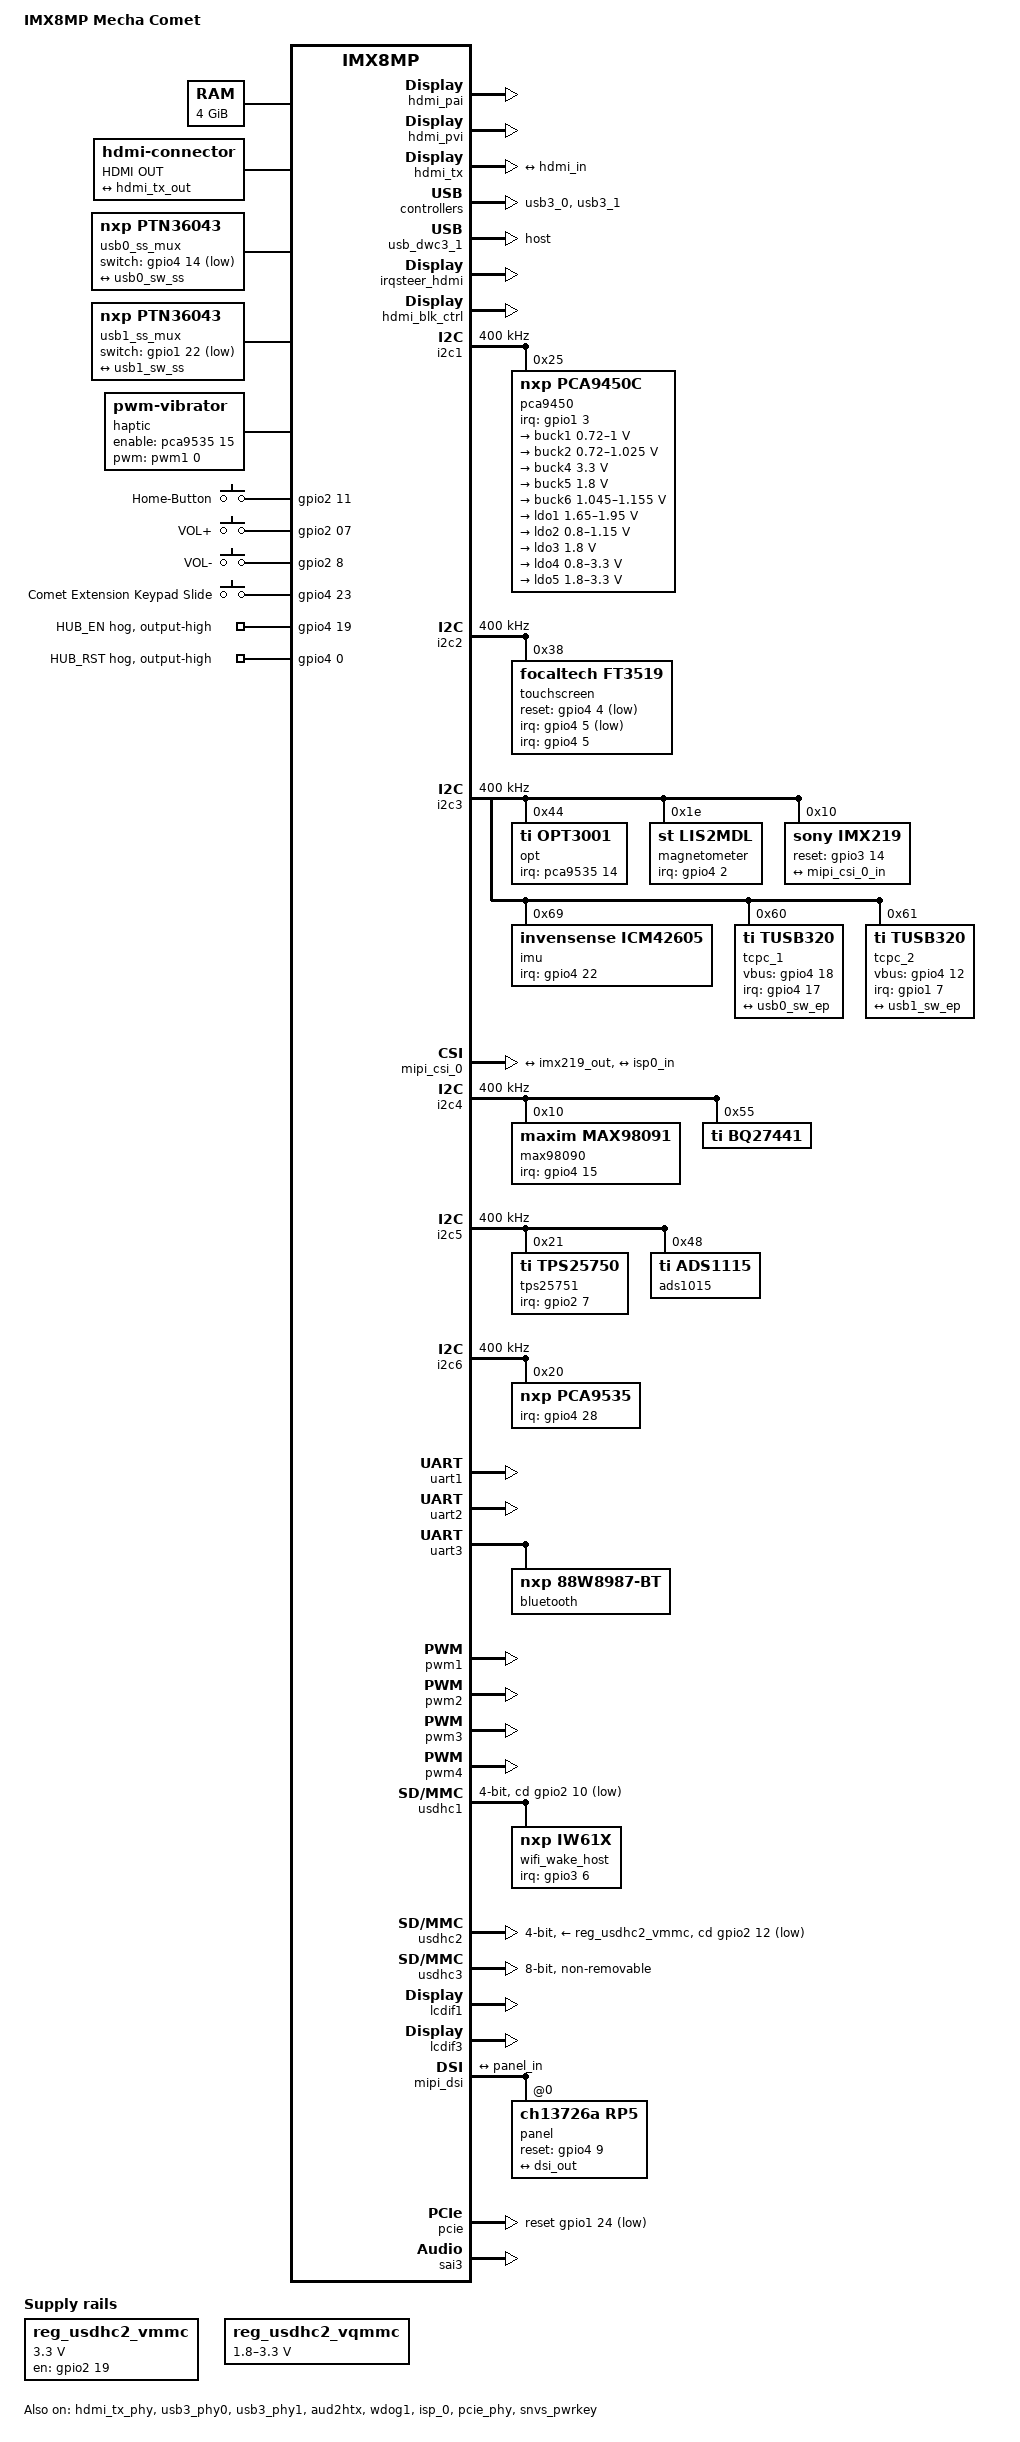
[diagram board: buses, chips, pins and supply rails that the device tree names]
// SPDX-License-Identifier: GPL-2.0-or-later OR MIT
/*
 * Copyright 2025 Silicon Signals Pvt Ltd
 */

/dts-v1/;

#include <dt-bindings/phy/phy-imx8-pcie.h>
#include <dt-bindings/pwm/pwm.h>
#include <dt-bindings/usb/pd.h>
#include "imx8mp.dtsi"

/ {
	model = "IMX8MP Mecha Comet";
	compatible = "mecha,imx8mp-mecha-comet","fsl,imx8mp";

	chosen {
		stdout-path = &uart2;
	};

	/* Reference from imx8mp-evk dts file needs to be tested */
	memory@40000000 {
		device_type = "memory";
		reg = <0x00000000 0x40000000   0x00000001 0x00000000>;
	};


	native-hdmi-connector {
		compatible = "hdmi-connector";
		label = "HDMI OUT";
		type = "c";

		port {
			hdmi_in: endpoint {
				remote-endpoint = <&hdmi_tx_out>;
			};
		};
	};

	reg_usdhc2_vmmc: regulator-usdhc2 {
		compatible = "regulator-fixed";
		pinctrl-names = "default";
		pinctrl-0 = <&pinctrl_reg_usdhc2_vmmc>;
		regulator-name = "VSD_3V3";
		regulator-min-microvolt = <3300000>;
		regulator-max-microvolt = <3300000>;
		gpio = <&gpio2 19 GPIO_ACTIVE_HIGH>;
		enable-active-high;
	};

	reg_usdhc2_vqmmc: regulator-usdhc2-vqmmc {
		compatible = "regulator-gpio";
		regulator-name = "VSD_VSEL";
		regulator-min-microvolt = <1800000>;
		regulator-max-microvolt = <3300000>;
		gpio = <&gpio1 4 GPIO_ACTIVE_HIGH>;
		gpios-states = <1>;
		states = <3300000 0
			 1800000 1>;
	};

	sound-max98090 {
	        compatible = "simple-audio-card";
	        simple-audio-card,name = "max98090-audio";
	        simple-audio-card,format = "i2s";
	        simple-audio-card,frame-master = <&cpudai>;
	        simple-audio-card,bitclock-master = <&cpudai>;
	        simple-audio-card,bitclock-inversion;

	        simple-audio-card,widgets =
	                "Microphone", "Mic Jack",
	                "Speakers", "Speakers",
	                "Line", "Line In",
	                "Line", "Line Out",
	                "Headphone", "Headphone Jack";

	        simple-audio-card,routing =
	                "Headphone Jack", "HPL",
	                "Headphone Jack", "HPR",
	                "Line Out", "RCVL",
	                "Line Out", "RCVR",
	        /* Uncomment any of these below lines if the Line Input(s) is(are) used else leave it as such. */
	                "IN1","Line In",
	                "IN2","Line In",
	                "IN5", "Line In",  /* IN1/IN2/IN3/IN4/IN6 (For single-ended input) */
	                "IN34", "Line In", /* IN34 (For differential inputs) */
	                "IN56", "Line In", /* IN34 (For differential inputs) */
	                "MIC1", "Mic Jack",
	                "MIC2", "Mic Jack",
	                "Mic Jack", "MICBIAS",
	                "IN1", "MICBIAS",
	                "MIC1","IN1",
	                "MIC2","IN1",
	                //"Speakers", "SPKL",
	                //"Speakers", "SPKR",

	                /* DMIC-3 Routings */
	                "DMICL", "DMIC Mux",
	                "DMIC Mux", "DMIC3",
	                "DMIC3", "DMIC3_ENA",
	                "DMIC3", "AHPF",

	                /* DMIC-4 Routings */
	                "DMICR", "DMIC Mux",
	                "DMIC Mux", "DMIC4",
	                "DMIC4", "DMIC4_ENA",
	                "DMIC3", "AHPF",
	                "DMIC4", "AHPF",

	                "HiFi Capture", "DMICL",
	                "HiFi Capture", "DMICR";

	        cpudai: simple-audio-card,cpu {
	                sound-dai = <&sai3>;
	                dai-tdm-slot-num = <2>;
	                dai-tdm-slot-width = <32>;
	        };

	        simple-audio-card,codec {
	                sound-dai = <&max98090>;
	                clocks = <&audio_blk_ctrl IMX8MP_CLK_AUDIOMIX_SAI3_MCLK1>;
	        };
	};

	sound-hdmi {
		compatible = "fsl,imx-audio-hdmi";
		model = "audio-hdmi";
		audio-cpu = <&aud2htx>;
		hdmi-out;
	};

	usb0_ss_mux: ptn36043 {
		compatible = "nxp,ptn36043";
		pinctrl-names = "default";
		switch-gpios = <&gpio4 14 GPIO_ACTIVE_LOW>;
		orientation-switch;

		port {
			usb0_sw_ep: endpoint {
				remote-endpoint = <&usb0_sw_ss>;
			};
		};
	};

	usb1_ss_mux: ptn36043_1 {
		compatible = "nxp,ptn36043";
		pinctrl-names = "default";
		switch-gpios = <&gpio1 22 GPIO_ACTIVE_LOW>;
		orientation-switch;

		port {
			usb1_sw_ep: endpoint {
				remote-endpoint = <&usb1_sw_ss>;
			};
		};
	};

	haptic {
		compatible = "pwm-vibrator";
		pwms = <&pwm1 0 1000000 0>;
		pwm-names = "enable";
		enable-gpios = <&pca9535 15 GPIO_ACTIVE_HIGH>;
		status = "okay";
    };

	Home-button {
		compatible = "gpio-keys";

		keypad-slide {
			label = "Home-Button";
			linux,input-type = <EV_KEY>;
			linux,code = <KEY_HOME>;
			gpios = <&gpio2 11 GPIO_ACTIVE_HIGH>;
		};
	};

	VOL-PLUS {
		compatible = "gpio-keys";

		keypad-slide {
			label = "VOL+";
			linux,input-type = <EV_KEY>;
			linux,code = <KEY_VOLUMEUP>;
			gpios = <&gpio2 07 GPIO_ACTIVE_HIGH>;
		};
	};

	VOL-MINUS {
		compatible = "gpio-keys";

		keypad-slide {
			label = "VOL-";
			linux,input-type = <EV_KEY>;
			linux,code = <KEY_VOLUMEDOWN>;
			gpios = <&gpio2 8 GPIO_ACTIVE_HIGH>;
		};
	};

	Comet-Extension {
		compatible = "gpio-keys";

		keypad-slide {
			label = "Comet Extension Keypad Slide";
			linux,input-type = <EV_KEY>;
			linux,code = <KEY_F24>;
			gpios = <&gpio4 23 GPIO_ACTIVE_HIGH>;
		};
	};

};

&A53_0 {
        cpu-supply = <&buck2>;
};

&A53_1 {
        cpu-supply = <&buck2>;
};

&A53_2 {
        cpu-supply = <&buck2>;
};

&A53_3 {
        cpu-supply = <&buck2>;
};


&hdmi_pai {
	status = "okay";
};

&hdmi_pvi {
	status = "okay";
};

&hdmi_tx {
	pinctrl-names = "default";
	pinctrl-0 = <&pinctrl_hdmi>;
	status = "okay";

	ports {
		port@1 {
			hdmi_tx_out: endpoint {
				remote-endpoint = <&hdmi_in>;
			};
		};
	};
};

&hdmi_tx_phy {
	status = "okay";
};

&usb3_0 {
	status = "okay";
};

&usb3_phy0 {
	status = "okay";
};

&usb3_phy1 {
	status = "okay";
};

&usb3_1 {
	status = "okay";
};

&usb_dwc3_1 {
	status = "okay";
	dr_mode = "host";
};

&irqsteer_hdmi {
        status = "okay";
};

&hdmi_blk_ctrl {
        status = "okay";
};

&aud2htx {
	status = "okay";
};

&wdog1 {
        pinctrl-names = "default";
	pinctrl-0 = <&pinctrl_wdog>;
	fsl,ext-reset-output;
	status = "okay";
};

&i2c1 {
	clock-frequency = <400000>;
	pinctrl-names = "default";
	pinctrl-0 = <&pinctrl_i2c1>;
	status = "okay";

	pca9450: pmic@25 {
		compatible = "nxp,pca9450c";
		reg = <0x25>;
		pinctrl-names = "default";
		pinctrl-0 = <&pinctrl_pmic>;
		interrupt-parent = <&gpio1>;
		interrupts = <3 IRQ_TYPE_LEVEL_LOW>;

		regulators {
			buck1: BUCK1 {
				regulator-name = "VDD_SOC";
				regulator-min-microvolt = <720000>;
				regulator-max-microvolt = <1000000>;
				regulator-boot-on;
				regulator-always-on;
				regulator-ramp-delay = <3125>;
			};

			buck2: BUCK2 {
				regulator-name = "VDD_ARM";
				regulator-min-microvolt = <720000>;
				regulator-max-microvolt = <1025000>;
				regulator-boot-on;
				regulator-always-on;
				regulator-ramp-delay = <3125>;
				nxp,dvs-run-voltage = <950000>;
				nxp,dvs-standby-voltage = <850000>;
			};

			buck4: BUCK4 {
				regulator-name = "BUCK4";
				regulator-min-microvolt = <3300000>;
				regulator-max-microvolt = <3300000>;
				regulator-boot-on;
				regulator-always-on;
			};

			buck5: BUCK5 {
				regulator-name = "BUCK5";
				regulator-min-microvolt = <1800000>;
				regulator-max-microvolt = <1800000>;
				regulator-boot-on;
				regulator-always-on;
			};

			buck6: BUCK6 {
				regulator-name = "NVCC_DRAM_1V1";
				regulator-min-microvolt = <1045000>;
				regulator-max-microvolt = <1155000>;
				regulator-boot-on;
				regulator-always-on;
			};

			ldo1: LDO1 {
				regulator-name = "NVCC_SNVS_1V8";
				regulator-min-microvolt = <1650000>;
				regulator-max-microvolt = <1950000>;
				regulator-boot-on;
				regulator-always-on;
			};

			ldo2: LDO2 {
				regulator-name = "LDO2";
				regulator-min-microvolt = <800000>;
				regulator-max-microvolt = <1150000>;
				regulator-boot-on;
				regulator-always-on;
			};

			ldo3: LDO3 {
				regulator-name = "VDDA_1V8";
				regulator-min-microvolt = <1800000>;
				regulator-max-microvolt = <1800000>;
				regulator-boot-on;
				regulator-always-on;
			};

			ldo4: LDO4 {
				regulator-name = "LDO4";
				regulator-min-microvolt = <800000>;
				regulator-max-microvolt = <3300000>;
				regulator-boot-on;
				regulator-always-on;
			};

			ldo5: LDO5 {
				regulator-name = "NVCC_SD2";
				regulator-min-microvolt = <1800000>;
				regulator-max-microvolt = <3300000>;
				regulator-boot-on;
				regulator-always-on;
			};
		};
	};
};

&i2c2 {
	clock-frequency = <400000>;
	pinctrl-names = "default";
	pinctrl-0 = <&pinctrl_i2c2>;
	status = "okay";

	touchscreen@38 {
		compatible = "focaltech,ft3519", "focaltech,ft3518";
		reg = <0x38>;

		interrupt-parent = <&gpio4>;
		interrupts = <5 IRQ_TYPE_EDGE_FALLING>;
		reset-gpio = <&gpio4 4 GPIO_ACTIVE_LOW>;
		irq-gpio = <&gpio4 5 GPIO_ACTIVE_LOW>;

		pinctrl-names = "default";
		pinctrl-0 = <&pinctrl_touch_i2c>;

		touchscreen-size-x = <1080>;
		touchscreen-size-y = <1240>;
	};
};

&i2c3 {
	clock-frequency = <400000>;
	pinctrl-names = "default";
	pinctrl-0 = <&pinctrl_i2c3>;
	status = "okay";

	opt: opt3001@44 {
        compatible = "ti,opt3001";
        reg = <0x44>;
        interrupt-parent = <&gpio4>;
        interrupts = <11 IRQ_TYPE_EDGE_RISING>;
        status = "okay";
    };

	magnetometer@1e {
		compatible = "st,lis2mdl";
		reg = <0x1e>;
		interrupt-parent = <&gpio4>;
		interrupts = <2 IRQ_TYPE_EDGE_RISING>;
	};

	imx219: imx219@10 {
		compatible = "sony,imx219";
		reg = <0x10>;
		pinctrl-names = "default";
		pinctrl-0 = <&pinctrl_gpio_mclk>, <&pinctrl_gpio5>;
		clock-names = "xclk";
		clocks = <&clk IMX8MP_CLK_IPP_DO_CLKO1>;
		assigned-clocks = <&clk IMX8MP_CLK_IPP_DO_CLKO1>;
		assigned-clock-parents = <&clk IMX8MP_CLK_24M>;
		assigned-clock-rates = <24000000>;
		reset-gpios = <&gpio3 14 GPIO_ACTIVE_HIGH>;

		rotation = <0>;
		orientation = <2>;

		ports {
			#address-cells = <1>;
			#size-cells = <0>;
			port@0 {
				reg = <0>;
				imx219_out: endpoint {
					remote-endpoint = <&mipi_csi_0_in>;
					clock-noncontinuous;
					data-lanes = <1 2>;
					link-frequencies = /bits/ 64 <456000000>;
				};
			};
		};
	};

	imu: icm42605@69 {
		compatible = "invensense,icm42605";
		pinctrl-names = "default";
		pinctrl-0 = <&pinctrl_imu_gpio>;
		reg = <0x69>;
		interrupt-parent = <&gpio4>;
		interrupts = <22 IRQ_TYPE_EDGE_FALLING>;
	};

	opt: opt3001@44 {
		compatible = "ti,opt3001";
		reg = <0x44>;
		interrupt-parent = <&pca9535>;
		interrupts = <14 IRQ_TYPE_EDGE_FALLING>;
		status = "okay";
	};

	tcpc_1: tusb320@60 {
		compatible = "ti,tusb320";
		reg = <0x60>;
		pinctrl-0 = <&pinctrl_tusb>;
		interrupt-parent = <&gpio4>;
		interrupts = <17 IRQ_TYPE_LEVEL_LOW>;
		vbus-gpios = <&gpio4 18 GPIO_ACTIVE_HIGH>;
		status = "okay";

		connector {
			compatible = "usb-c-connector";
			label = "USB-C-Port1";
			data-role = "dual";
			power-role = "dual";
			typec-power-opmode = "default";

			ports {
				#address-cells = <1>;
				#size-cells = <0>;
                port@1 {
					reg = <1>;
					usb0_sw_ss: endpoint {
						remote-endpoint = <&usb0_sw_ep>;
					};
				};
			};
		};
	};

	tcpc_2: tusb320@61 {
		compatible = "ti,tusb320";
		reg = <0x61>;
		pinctrl-0 = <&pinctrl_tusb_1>;
		interrupt-parent = <&gpio1>;
		interrupts = <7 IRQ_TYPE_LEVEL_LOW>;
		vbus-gpios = <&gpio4 12 GPIO_ACTIVE_HIGH>;
		status = "okay";

		connector {
			compatible = "usb-c-connector";
			label = "USB-C-Port2";
			data-role = "dual";
			power-role = "dual";
			typec-power-opmode = "default";

			ports {
				#address-cells = <1>;
				#size-cells = <0>;

				port@1 {
					reg = <1>;
					usb1_sw_ss: endpoint {
						remote-endpoint = <&usb1_sw_ep>;
					};
				};
			};
		};
	};

};

&mipi_csi_0 {
    status = "okay";
	fsl,blk-ctrl = <&media_blk_ctrl>;

    ports {
        #address-cells = <1>;
        #size-cells = <0>;

        /* input from sensor */
        port@0 {
            mipi_csi_0_in: endpoint {
                remote-endpoint = <&imx219_out>;
                data-lanes = <1 2>;
                clock-lanes = <0>;
            };
        };

        /* output to ISP */
        port@1 {
            mipi_csi_0_out: endpoint {
                remote-endpoint = <&isp0_in>;
            };
        };
    };
};

&isp_0 {
	status = "okay";

	ports {
		port@1 {
			isp0_in: endpoint {
				bus-type = <5>;
				remote-endpoint = <&mipi_csi_0_out>;
			};
		};
	};
};

&isi_0 {
	status = "disabled";

	ports {
		port@0 {
			/delete-node/ endpoint;
		};
	};
};

&i2c4 {
	clock-frequency = <400000>;
	pinctrl-names = "default";
	pinctrl-0 = <&pinctrl_i2c4>;
	status = "okay";

	max98090: max98090@10 {
	        #sound-dai-cells = <0>;
	        pinctrl-names = "default";
	        pinctrl-0 = <&pinctrl_sai3>;
			pinctrl-1 = <&pinctrl_codec>;
	        compatible = "maxim,max98091";
	        reg = <0x10>;
	        clocks = <&audio_blk_ctrl IMX8MP_CLK_AUDIOMIX_SAI3_MCLK1>;
	        interrupt-parent = <&gpio4>;
	        interrupts = <15 IRQ_TYPE_LEVEL_LOW>;
	        clock-names = "mclk";
			status = "okay";
	};

	bq27441: fuel-gauge@55 {
		compatible = "ti,bq27441";
		reg = <0x55>;
		status = "okay";
		monitored-battery = <&bat>;
		bat: battery {
			compatible = "simple-battery";
			over-voltage-threshold-microvolt = <4500000>;
			re-charge-voltage-microvolt = <250000>;
			voltage-min-design-microvolt = <3200000>;
			voltage-max-design-microvolt = <4200000>;
			energy-full-design-microwatt-hours = <5290000>;
			charge-full-design-microamp-hours = <1430000>;
			precharge-current-microamp = <256000>;
			precharge-upper-limit-microvolt = <2500000>;
			charge-term-current-microamp = <128000>;
			constant-charge-current-max-microamp = <900000>;
			constant-charge-voltage-max-microvolt = <4200000>;
			factory-internal-resistance-micro-ohms = <250000>;
			ocv-capacity-celsius = <(-10) 0 10>;
			/* table for -10 degree Celsius */
			ocv-capacity-table-0 = <4185000 100>, <4113000 95>, <4066000 90>;
			/* table for 0 degree Celsius */
			ocv-capacity-table-1 = <4200000 100>, <4185000 95>, <4113000 90>;
			/* table for 10 degree Celsius */
			ocv-capacity-table-2 = <4250000 100>, <4200000 95>, <4185000 90>;
			resistance-temp-table = <20 100>, <10 90>, <0 80>, <(-10) 60>;
			operating-range-celsius = <(-30) 50>;
			ambient-celsius = <(-5) 50>;
			alert-celsius = <0 40>;
		};
	};

};

&i2c5 {
	clock-frequency = <400000>;
	pinctrl-names = "default";
	pinctrl-0 = <&pinctrl_i2c5>;
	status = "okay";

	/* PD controller for USB_PWR */
	tps25751: typec@21 {
		compatible = "ti,tps25750";
		reg = <0x21>, <0x0f>;
		reg-names = "main", "patch-address";
		pinctrl-names = "default";
		pinctrl-0 = <&pinctrl_typec>;
		interrupt-parent = <&gpio2>;
		interrupts = <7 IRQ_TYPE_LEVEL_LOW>;
		interrupt-names = "irq";
		firmware-name = "tps25751.bin";

		connector {
			compatible = "usb-c-connector";
			label = "USB-C";
			self-powered;
			data-role = "dual";
			power-role = "dual";
		};
	};

	ads1015@48 {
		compatible = "ti,ads1115";
		reg = <0x48>;
		#address-cells = <1>;
		#size-cells = <0>;
	};

};

&i2c6 {
	clock-frequency = <400000>;
    pinctrl-names = "default";
    pinctrl-0 = <&pinctrl_i2c6>;
    status = "okay";

    pca9535:gpio@20 {
		compatible = "nxp,pca9535";
		reg = <0x20>;
		gpio-controller;
		#gpio-cells = <2>;
		interrupt-parent = <&gpio4>;
		interrupts = <28 IRQ_TYPE_LEVEL_LOW>;
		interrupt-controller;
		#interrupt-cells = <2>;
		status = "okay";

		nSleep {
			gpio-hog;
			gpios = <10 GPIO_ACTIVE_HIGH>;
			output-high;
			line-name = "haptic motor nSleep";
		};
    };
};

&gpio4 {
	hub_en {
		gpio-hog;
		gpios = <19 GPIO_ACTIVE_HIGH>;
		output-high;
		line-name = "HUB_EN";
	};

	hub_rst {
		gpio-hog;
		gpios = <0 GPIO_ACTIVE_HIGH>;
		output-high;
		line-name = "HUB_RST";
	};
};

&uart1 {
	pinctrl-names = "default";
	pinctrl-0 = <&pinctrl_uart1>;
	status = "okay";
};

&uart2 {
	/* console */
	pinctrl-names = "default";
	pinctrl-0 = <&pinctrl_uart2>;
	status = "okay";
};

&uart3 {
	pinctrl-names = "default";
	pinctrl-0 = <&pinctrl_uart3>;
	assigned-clocks = <&clk IMX8MP_CLK_UART3>;
	assigned-clock-parents = <&clk IMX8MP_SYS_PLL1_80M>;
	uart-has-rtscts;
	status = "okay";
	bluetooth {
		compatible = "nxp,88w8987-bt";
		fw-init-baudrate = <3000000>;
		status="okay";
	};
};

&pwm1 {
	pinctrl-names = "default";
	pinctrl-0 = <&pinctrl_pwm1>;
	status = "okay";
};

&pwm2 {
	pinctrl-names = "default";
	pinctrl-0 = <&pinctrl_pwm2>;
	status = "okay";
};

&pwm3 {
	pinctrl-names = "default";
	pinctrl-0 = <&pinctrl_pwm3>;
	status = "okay";
};

&pwm4 {
	pinctrl-names = "default";
	pinctrl-0 = <&pinctrl_pwm4>;
	status = "okay";
};

&usdhc1 {
	assigned-clocks = <&clk IMX8MP_CLK_USDHC1>;
	assigned-clock-rates = <400000000>;
	bus-width = <4>;
	keep-power-in-suspend;
//	non-removable;
	wakeup-source;
	pinctrl-names = "default", "state_100mhz", "state_200mhz";
	pinctrl-0 = <&pinctrl_usdhc1>, <&pinctrl_wifi_ctrl>;
	pinctrl-1 = <&pinctrl_usdhc1_100mhz>, <&pinctrl_wifi_ctrl>;
	pinctrl-2 = <&pinctrl_usdhc1_200mhz>, <&pinctrl_wifi_ctrl>;
	status = "okay";
	cd-gpios = <&gpio2 10 GPIO_ACTIVE_LOW>;
	
	wifi_wake_host {
		compatible = "nxp,iw61x";
		interrupt-parent = <&gpio3>;
		interrupts = <6 IRQ_TYPE_LEVEL_HIGH>;
		interrupt-names = "host-wake";
	};
};

&usdhc2 {
	assigned-clocks = <&clk IMX8MP_CLK_USDHC2>;
	assigned-clock-rates = <400000000>;
	pinctrl-names = "default", "state_100mhz", "state_200mhz", "sleep";
	pinctrl-0 = <&pinctrl_usdhc2>, <&pinctrl_usdhc2_cd>;
	pinctrl-1 = <&pinctrl_usdhc2_100mhz>, <&pinctrl_usdhc2_cd>;
	pinctrl-2 = <&pinctrl_usdhc2_200mhz>, <&pinctrl_usdhc2_cd>;
	pinctrl-3 = <&pinctrl_usdhc2_sleep>, <&pinctrl_usdhc2_cd_sleep>;
	cd-gpios = <&gpio2 12 GPIO_ACTIVE_LOW>;
	vmmc-supply = <&reg_usdhc2_vmmc>;
	vqmmc-supply = <&reg_usdhc2_vqmmc>;
	disable-wp;
	bus-width = <4>;
	status = "okay";
};

&usdhc3 {
	assigned-clocks = <&clk IMX8MP_CLK_USDHC3>;
	assigned-clock-rates = <400000000>;
	pinctrl-names = "default", "state_100mhz", "state_200mhz";
	pinctrl-0 = <&pinctrl_usdhc3>;
	pinctrl-1 = <&pinctrl_usdhc3_100mhz>;
	pinctrl-2 = <&pinctrl_usdhc3_200mhz>;
	bus-width = <8>;
	non-removable;
	status = "okay";
};

&lcdif1 {
	status = "okay";
};

&lcdif2 {
        status = "disabled";
};

&lcdif3 {
        status = "okay";

        thres-low  = <1 2>;             /* (FIFO * 1 / 2) */
        thres-high = <3 4>;             /* (FIFO * 3 / 4) */
};

&mipi_dsi {
	samsung,esc-clock-frequency = <16000000>;
	status = "okay";

	port {
		dsi_out: endpoint {
			remote-endpoint = <&panel_in>;
		};
	};

	panel@0 {
		compatible = "ch13726a,rp5";
		reg = <0>;
		pinctrl-0 = <&pinctrl_mipi_gpio>;
		reset-gpios = <&gpio4 9 GPIO_ACTIVE_HIGH>;
		//orientation = <0>;
		//rotation = <270>;
		//dsi-lanes = <4>;
		//video-mode = <0>;
		status = "okay";

		port {
			panel_in: endpoint {
				remote-endpoint = <&dsi_out>;
			};
		};
	};
};

&pcie_phy {
	fsl,refclk-pad-mode = <IMX8_PCIE_REFCLK_PAD_OUTPUT>;
	clocks = <&hsio_blk_ctrl>;
	clock-names = "ref";
	status = "okay";
};

&pcie {
	pinctrl-names = "default";
	pinctrl-0 = <&pinctrl_pcie0>;
	reset-gpio = <&gpio1 24 GPIO_ACTIVE_LOW>;
	status = "okay";
};

&sai3 {
	#sound-dai-cells = <0>;
	assigned-clocks = <&clk IMX8MP_CLK_SAI3>;
	assigned-clock-parents = <&clk IMX8MP_AUDIO_PLL1_OUT>;
	assigned-clock-rates = <12288000>;
	fsl,sai-mclk-direction-output;
	status = "okay";
};

&sdma2 {
       status = "okay";
};

&snvs_pwrkey {
        status = "okay";
};

&iomuxc {
	pinctrl_gpio_mclk: gpiomclkgrp {
		fsl,pins =
				/* CSI_1_MCLK */
				<MX8MP_IOMUXC_GPIO1_IO14__CCM_CLKO1             0x1c4>;
	};

	pinctrl_gpio5: gpio5grp {
		fsl,pins =
				<MX8MP_IOMUXC_NAND_ALE__GPIO3_IO00            0x184>;
	};

	pinctrl_i2c1: i2c1grp {
		fsl,pins = <
			MX8MP_IOMUXC_I2C1_SCL__I2C1_SCL		0x400001c2
			MX8MP_IOMUXC_I2C1_SDA__I2C1_SDA		0x400001c2
		>;
	};

	pinctrl_i2c2: i2c2grp {
		fsl,pins = <
			MX8MP_IOMUXC_I2C2_SCL__I2C2_SCL		0x400001c2
			MX8MP_IOMUXC_I2C2_SDA__I2C2_SDA		0x400001c2
		>;
	};

	pinctrl_i2c3: i2c3grp {
		fsl,pins = <
			MX8MP_IOMUXC_I2C3_SCL__I2C3_SCL		0x400001c2
			MX8MP_IOMUXC_I2C3_SDA__I2C3_SDA		0x400001c2
		>;
	};

	pinctrl_i2c4: i2c4grp {
		fsl,pins = <
			MX8MP_IOMUXC_I2C4_SCL__I2C4_SCL		0x400001c2
			MX8MP_IOMUXC_I2C4_SDA__I2C4_SDA		0x400001c2
		>;
	};

	pinctrl_i2c5: i2c5grp {
		fsl,pins = <
			MX8MP_IOMUXC_SAI5_RXD0__I2C5_SCL	0x400001c2
			MX8MP_IOMUXC_SAI5_MCLK__I2C5_SDA	0x400001c2
		>;
	};

	pinctrl_i2c6: i2c6grp {
		fsl,pins = <
			MX8MP_IOMUXC_SAI5_RXC__I2C6_SDA		0x400001c2
			MX8MP_IOMUXC_SAI5_RXFS__I2C6_SCL	0x400001c2
		>;
	};

	pinctrl_uart1: uart1grp {
		fsl,pins = <
			MX8MP_IOMUXC_UART1_RXD__UART1_DCE_RX		0x140
			MX8MP_IOMUXC_UART1_TXD__UART1_DCE_TX		0x140
		>;
	};

	pinctrl_uart2: uart2grp {
		fsl,pins = <
			MX8MP_IOMUXC_UART2_RXD__UART2_DCE_RX		0x140
			MX8MP_IOMUXC_UART2_TXD__UART2_DCE_TX		0x140
		>;
	};

	pinctrl_uart3: uart3grp {
		fsl,pins = <
			MX8MP_IOMUXC_ECSPI1_SCLK__UART3_DCE_RX		0x140
			MX8MP_IOMUXC_ECSPI1_MOSI__UART3_DCE_TX		0x140
			MX8MP_IOMUXC_ECSPI1_SS0__UART3_DCE_RTS		0x140
			MX8MP_IOMUXC_ECSPI1_MISO__UART3_DCE_CTS		0x140
		>;
	};

	pinctrl_pwm1: pwm1grp {
		fsl,pins = <
			MX8MP_IOMUXC_GPIO1_IO08__PWM1_OUT		0x116
		>;
	};

	pinctrl_pwm2: pwm2grp {
		fsl,pins = <
			MX8MP_IOMUXC_GPIO1_IO09__PWM2_OUT		0x116
		>;
	};

	pinctrl_pwm3: pwm3grp {
		fsl,pins = <
			MX8MP_IOMUXC_GPIO1_IO10__PWM3_OUT		0x116
		>;
	};

	pinctrl_pwm4: pwm4grp {
		fsl,pins = <
			MX8MP_IOMUXC_GPIO1_IO15__PWM4_OUT		0x116
		>;
	};

	pinctrl_pmic: pmicgrp {
		fsl,pins = <
			MX8MP_IOMUXC_GPIO1_IO03__GPIO1_IO03		0x000001c0
		>;
	};

	pinctrl_typec: typec1grp {
		fsl,pins = <
			MX8MP_IOMUXC_SD1_DATA5__GPIO2_IO07		0x1c4
		>;
	};

	pinctrl_usdhc1: usdhc1grp {
		fsl,pins = <
			MX8MP_IOMUXC_SD1_CLK__USDHC1_CLK		0x190
			MX8MP_IOMUXC_SD1_CMD__USDHC1_CMD		0x1d0
			MX8MP_IOMUXC_SD1_DATA0__USDHC1_DATA0		0x1d0
			MX8MP_IOMUXC_SD1_DATA1__USDHC1_DATA1		0x1d0
			MX8MP_IOMUXC_SD1_DATA2__USDHC1_DATA2		0x1d0
			MX8MP_IOMUXC_SD1_DATA3__USDHC1_DATA3		0x1d0
		>;
	};

	pinctrl_usdhc1_100mhz: usdhc1-100mhzgrp {
		fsl,pins = <
			MX8MP_IOMUXC_SD1_CLK__USDHC1_CLK		0x194
			MX8MP_IOMUXC_SD1_CMD__USDHC1_CMD		0x1d4
			MX8MP_IOMUXC_SD1_DATA0__USDHC1_DATA0		0x1d4
			MX8MP_IOMUXC_SD1_DATA1__USDHC1_DATA1		0x1d4
			MX8MP_IOMUXC_SD1_DATA2__USDHC1_DATA2		0x1d4
			MX8MP_IOMUXC_SD1_DATA3__USDHC1_DATA3		0x1d4
		>;
	};

	pinctrl_usdhc1_200mhz: usdhc1-200mhzgrp {
		fsl,pins = <
			MX8MP_IOMUXC_SD1_CLK__USDHC1_CLK		0x196
			MX8MP_IOMUXC_SD1_CMD__USDHC1_CMD		0x1d6
			MX8MP_IOMUXC_SD1_DATA0__USDHC1_DATA0		0x1d6
			MX8MP_IOMUXC_SD1_DATA1__USDHC1_DATA1		0x1d6
			MX8MP_IOMUXC_SD1_DATA2__USDHC1_DATA2		0x1d6
			MX8MP_IOMUXC_SD1_DATA3__USDHC1_DATA3		0x1d6
		>;
	};

	pinctrl_usdhc2: usdhc2grp {
		fsl,pins = <
			MX8MP_IOMUXC_SD2_CLK__USDHC2_CLK		0x190
			MX8MP_IOMUXC_SD2_CMD__USDHC2_CMD		0x1d0
			MX8MP_IOMUXC_SD2_DATA0__USDHC2_DATA0		0x1d0
			MX8MP_IOMUXC_SD2_DATA1__USDHC2_DATA1		0x1d0
			MX8MP_IOMUXC_SD2_DATA2__USDHC2_DATA2		0x1d0
			MX8MP_IOMUXC_SD2_DATA3__USDHC2_DATA3		0x1d0
		//	MX8MP_IOMUXC_GPIO1_IO04__USDHC2_VSELECT		0x4
		>;
	};

	pinctrl_usdhc2_100mhz: usdhc2-100mhzgrp {
		fsl,pins = <
			MX8MP_IOMUXC_SD2_CLK__USDHC2_CLK		0x194
			MX8MP_IOMUXC_SD2_CMD__USDHC2_CMD		0x1d4
			MX8MP_IOMUXC_SD2_DATA0__USDHC2_DATA0		0x1d4
			MX8MP_IOMUXC_SD2_DATA1__USDHC2_DATA1		0x1d4
			MX8MP_IOMUXC_SD2_DATA2__USDHC2_DATA2		0x1d4
			MX8MP_IOMUXC_SD2_DATA3__USDHC2_DATA3		0x1d4
		//	MX8MP_IOMUXC_GPIO1_IO04__USDHC2_VSELECT		0x4
		>;
	};

	pinctrl_usdhc2_200mhz:	usdhc2-200mhzgrp {
		fsl,pins = <
			MX8MP_IOMUXC_SD2_CLK__USDHC2_CLK		0x196
			MX8MP_IOMUXC_SD2_CMD__USDHC2_CMD		0x1d6
			MX8MP_IOMUXC_SD2_DATA0__USDHC2_DATA0		0x1d6
			MX8MP_IOMUXC_SD2_DATA1__USDHC2_DATA1		0x1d6
			MX8MP_IOMUXC_SD2_DATA2__USDHC2_DATA2		0x1d6
			MX8MP_IOMUXC_SD2_DATA3__USDHC2_DATA3		0x1d6
		//	MX8MP_IOMUXC_GPIO1_IO04__USDHC2_VSELECT		0x4
		>;
	};

	 pinctrl_usdhc2_sleep: usdhc2slpgrp {
	         fsl,pins =
	                 <MX8MP_IOMUXC_GPIO1_IO04__USDHC2_VSELECT        0x0>,
	                 <MX8MP_IOMUXC_SD2_CLK__USDHC2_CLK               0x100>,
	                 <MX8MP_IOMUXC_SD2_CMD__USDHC2_CMD               0x100>,
	                 <MX8MP_IOMUXC_SD2_DATA0__USDHC2_DATA0           0x100>,
	                 <MX8MP_IOMUXC_SD2_DATA1__USDHC2_DATA1           0x100>,
	                 <MX8MP_IOMUXC_SD2_DATA2__USDHC2_DATA2           0x100>,
	                 <MX8MP_IOMUXC_SD2_DATA3__USDHC2_DATA3           0x100>;
	 };

	pinctrl_usdhc2_cd_sleep: usdhc2cdslpgrp {
	        fsl,pins =
	                <MX8MP_IOMUXC_SD2_CD_B__GPIO2_IO12              0x0>;   /* SODIMM 84 */
	};

	pinctrl_usdhc2_cd: usdhc2cdgrp {
	        fsl,pins =
	                <MX8MP_IOMUXC_SD2_CD_B__GPIO2_IO12              0x1c4
					MX8MP_IOMUXC_GPIO1_IO04__GPIO1_IO04             0x10 /* PMIC_USDHC_VSELECT */>;   /* SODIMM 84 */
	};

	pinctrl_reg_usdhc2_vmmc: regusdhc2vmmcgrp {
		fsl,pins = <
			MX8MP_IOMUXC_SD2_RESET_B__GPIO2_IO19		0x40
		>;
	};

	pinctrl_usdhc3: usdhc3grp {
		fsl,pins = <
			MX8MP_IOMUXC_NAND_READY_B__USDHC3_RESET_B	0x1d1
			MX8MP_IOMUXC_NAND_WE_B__USDHC3_CLK		0x190
			MX8MP_IOMUXC_NAND_WP_B__USDHC3_CMD		0x1d0
			MX8MP_IOMUXC_NAND_DATA04__USDHC3_DATA0		0x1d0
			MX8MP_IOMUXC_NAND_DATA05__USDHC3_DATA1		0x1d0
			MX8MP_IOMUXC_NAND_DATA06__USDHC3_DATA2		0x1d0
			MX8MP_IOMUXC_NAND_DATA07__USDHC3_DATA3		0x1d0
			MX8MP_IOMUXC_NAND_RE_B__USDHC3_DATA4		0x1d0
			MX8MP_IOMUXC_NAND_CE2_B__USDHC3_DATA5		0x1d0
			MX8MP_IOMUXC_NAND_CE3_B__USDHC3_DATA6		0x1d0
			MX8MP_IOMUXC_NAND_CLE__USDHC3_DATA7		0x1d0
			MX8MP_IOMUXC_NAND_CE1_B__USDHC3_STROBE		0x190
		>;
	};

	pinctrl_usdhc3_100mhz: usdhc3-100mhzgrp {
		fsl,pins = <
			MX8MP_IOMUXC_NAND_READY_B__USDHC3_RESET_B	0x1d1
			MX8MP_IOMUXC_NAND_WE_B__USDHC3_CLK		0x194
			MX8MP_IOMUXC_NAND_WP_B__USDHC3_CMD		0x1d4
			MX8MP_IOMUXC_NAND_DATA04__USDHC3_DATA0		0x1d4
			MX8MP_IOMUXC_NAND_DATA05__USDHC3_DATA1		0x1d4
			MX8MP_IOMUXC_NAND_DATA06__USDHC3_DATA2		0x1d4
			MX8MP_IOMUXC_NAND_DATA07__USDHC3_DATA3		0x1d4
			MX8MP_IOMUXC_NAND_RE_B__USDHC3_DATA4		0x1d4
			MX8MP_IOMUXC_NAND_CE2_B__USDHC3_DATA5		0x1d4
			MX8MP_IOMUXC_NAND_CE3_B__USDHC3_DATA6		0x1d4
			MX8MP_IOMUXC_NAND_CLE__USDHC3_DATA7		0x1d4
			MX8MP_IOMUXC_NAND_CE1_B__USDHC3_STROBE		0x190
		>;
	};

	pinctrl_usdhc3_200mhz: usdhc3-200mhzgrp {
		fsl,pins =  <
			MX8MP_IOMUXC_NAND_READY_B__USDHC3_RESET_B	0x1d1
			MX8MP_IOMUXC_NAND_WE_B__USDHC3_CLK		0x196
			MX8MP_IOMUXC_NAND_WP_B__USDHC3_CMD		0x1d6
			MX8MP_IOMUXC_NAND_DATA04__USDHC3_DATA0		0x1d6
			MX8MP_IOMUXC_NAND_DATA05__USDHC3_DATA1		0x1d6
			MX8MP_IOMUXC_NAND_DATA06__USDHC3_DATA2		0x1d6
			MX8MP_IOMUXC_NAND_DATA07__USDHC3_DATA3		0x1d6
			MX8MP_IOMUXC_NAND_RE_B__USDHC3_DATA4		0x1d6
			MX8MP_IOMUXC_NAND_CE2_B__USDHC3_DATA5		0x1d6
			MX8MP_IOMUXC_NAND_CE3_B__USDHC3_DATA6		0x1d6
			MX8MP_IOMUXC_NAND_CLE__USDHC3_DATA7		0x1d6
			MX8MP_IOMUXC_NAND_CE1_B__USDHC3_STROBE		0x196
		>;
	};

	pinctrl_mipi_gpio: mipigpiogrp {
		fsl,pins = <
			MX8MP_IOMUXC_SAI1_RXD7__GPIO4_IO09		0x184
		>;
	};

	pinctrl_touch_i2c: touchgrp {
		fsl,pins = <
			MX8MP_IOMUXC_SAI1_RXD2__GPIO4_IO04		0x184
			MX8MP_IOMUXC_SAI1_RXD3__GPIO4_IO05		0x184
		>;
	};

	pinctrl_sai3: sai3grp {
		fsl,pins = <
			MX8MP_IOMUXC_SAI3_TXC__AUDIOMIX_SAI3_TX_BCLK	0x1d6
			MX8MP_IOMUXC_SAI3_TXFS__AUDIOMIX_SAI3_TX_SYNC	0x1d6
			MX8MP_IOMUXC_SAI3_MCLK__AUDIOMIX_SAI3_MCLK	0x96
			MX8MP_IOMUXC_SAI3_TXD__AUDIOMIX_SAI3_TX_DATA00	0x96
			MX8MP_IOMUXC_SAI3_RXD__AUDIOMIX_SAI3_RX_DATA00	0x1d6
		>;
	};

	pinctrl_imu_gpio: imugrp {
		fsl,pins = <
			MX8MP_IOMUXC_SAI2_RXC__GPIO4_IO22		0x1c4
		>;
	};

	pinctrl_tusb: tusbgrp {
		fsl,pins = <
			MX8MP_IOMUXC_SAI1_TXD5__GPIO4_IO17		0x1c4
			MX8MP_IOMUXC_SAI1_TXD6__GPIO4_IO18		0x1c4
		>;
	};

	pinctrl_tusb_1: tusbgrp {
		fsl,pins = <
			MX8MP_IOMUXC_GPIO1_IO07__GPIO1_IO07		0x184
			MX8MP_IOMUXC_SAI1_TXD0__GPIO4_IO12		0x1c4
		>;
	};

	pinctrl_typec_0: typec2grp {
		fsl,pins = <
			MX8MP_IOMUXC_SD1_DATA4__GPIO2_IO06		0x1c4
		>;
	};

	pinctrl_wifi_ctrl: wifictrlgrp {
        fsl,pins = <
			MX8MP_IOMUXC_NAND_DATA00__GPIO3_IO06		0x1c4
			MX8MP_IOMUXC_SD1_RESET_B__GPIO2_IO10		0x1c4
		>; /* WIFI_WKUP_WLAN */
	};

	pinctrl_wdog: wdoggrp {
		fsl,pins = <
			MX8MP_IOMUXC_GPIO1_IO02__WDOG1_WDOG_B		0x166
		>;
	};

	pinctrl_hdmi: hdmigrp {
		fsl,pins = <
			MX8MP_IOMUXC_HDMI_DDC_SCL__HDMIMIX_HDMI_SCL     0x400001c2
			MX8MP_IOMUXC_HDMI_DDC_SDA__HDMIMIX_HDMI_SDA     0x400001c2
			MX8MP_IOMUXC_HDMI_HPD__HDMIMIX_HDMI_HPD         0x40000010
			MX8MP_IOMUXC_HDMI_CEC__HDMIMIX_HDMI_CEC         0x40000010
		>;
	};

	pinctrl_codec: codecgrp {
		fsl,pins = <
			MX8MP_IOMUXC_SAI1_TXD3__GPIO4_IO15 		0x1c4
		>;
	};

	pinctrl_pcie0: pci0grp {
		fsl,pins = <
			MX8MP_IOMUXC_ENET_RX_CTL__GPIO1_IO24		0x1c4
			MX8MP_IOMUXC_UART4_RXD__PCIE_CLKREQ_B		0x1c4
		>;
	};
};
